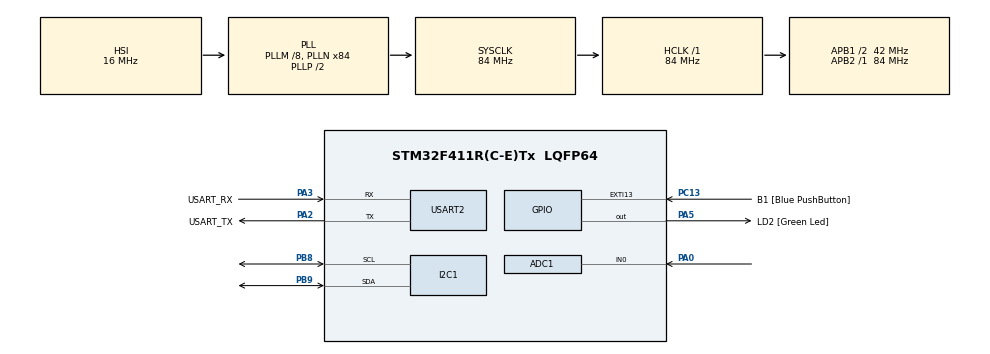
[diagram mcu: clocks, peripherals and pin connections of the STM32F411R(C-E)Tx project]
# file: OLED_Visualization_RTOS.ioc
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ADC1.Channel-0\#ChannelRegularConversion=ADC_CHANNEL_0
ADC1.DMAContinuousRequests=ENABLE
ADC1.ExternalTrigConv=ADC_EXTERNALTRIGCONV_T2_TRGO
ADC1.NbrOfConversionFlag=1
ADC1.Rank-0\#ChannelRegularConversion=1
ADC1.SamplingTime-0\#ChannelRegularConversion=ADC_SAMPLETIME_3CYCLES
ADC1.master=1
Dma.ADC1.0.Direction=DMA_PERIPH_TO_MEMORY
Dma.ADC1.0.FIFOMode=DMA_FIFOMODE_DISABLE
Dma.ADC1.0.Instance=DMA2_Stream0
Dma.ADC1.0.MemDataAlignment=DMA_MDATAALIGN_HALFWORD
Dma.ADC1.0.MemInc=DMA_MINC_ENABLE
Dma.ADC1.0.Mode=DMA_CIRCULAR
Dma.ADC1.0.PeriphDataAlignment=DMA_PDATAALIGN_HALFWORD
Dma.ADC1.0.PeriphInc=DMA_PINC_DISABLE
Dma.ADC1.0.Priority=DMA_PRIORITY_LOW
Dma.Request0=ADC1
FREERTOS.BinarySemaphores01=SemaphoreBmpQueue,Dynamic,NULL
FREERTOS.Mutexes01=MutexPrintf,Dynamic,NULL;MutexI2C1,Dynamic,NULL
FREERTOS.Queues01=QueueBmpData,8,BmpData_t,0,Dynamic,NULL,NULL;QueueFftData,8,FftData_t,0,Dynamic,NULL,NULL
FREERTOS.Tasks01=HeartbeatTask,24,128,StartHeartbeatTask,Default,NULL,Dynamic,NULL,NULL;Bmp280Task,32,256,StartBmp280Task,Default,NULL,Dynamic,NULL,NULL;OledTask,16,256,StartOledTask,Default,NULL,Dynamic,NULL,NULL;FFTTask,40,128,StartFFTTask,Default,NULL,Dynamic,NULL,NULL
FREERTOS.Timers01=TimerBmpData,TimerBmpDataCallback,osTimerPeriodic,Default,NULL,Dynamic,NULL
FREERTOS.configCHECK_FOR_STACK_OVERFLOW=0
FREERTOS.configTIMER_TASK_PRIORITY=18
FREERTOS.configTOTAL_HEAP_SIZE=32000
FREERTOS.configUSE_MALLOC_FAILED_HOOK=0
I2C1.I2C_Mode=I2C_Fast
Mcu.Family=STM32F4
Mcu.Name=STM32F411R(C-E)Tx
Mcu.Package=LQFP64
NVIC.ADC_IRQn=true\:5\:0\:false\:false\:true\:true\:true\:true\:true
NVIC.DMA2_Stream0_IRQn=true\:5\:0\:false\:false\:true\:true\:false\:true\:true
NVIC.PriorityGroup=NVIC_PRIORITYGROUP_4
NVIC.TIM1_UP_TIM10_IRQn=true\:15\:0\:false\:false\:true\:false\:false\:true\:true
NVIC.TimeBase=TIM1_UP_TIM10_IRQn
NVIC.TimeBaseIP=TIM10
PA0-WKUP.Signal=ADCx_IN0
PA13.GPIO_Label=TMS
PA13.Mode=Serial_Wire
PA13.Signal=SYS_JTMS-SWDIO
PA14.GPIO_Label=TCK
PA14.Mode=Serial_Wire
PA14.Signal=SYS_JTCK-SWCLK
PA2.GPIO_Label=USART_TX
PA2.Mode=Asynchronous
PA2.Signal=USART2_TX
PA3.GPIO_Label=USART_RX
PA3.Mode=Asynchronous
PA3.Signal=USART2_RX
PA5.GPIO_Label=LD2 [Green Led]
PA5.Signal=GPIO_Output
PB3.GPIO_Label=SWO
PB3.Signal=SYS_JTDO-SWO
PB8.Mode=I2C
PB8.Signal=I2C1_SCL
PB9.Mode=I2C
PB9.Signal=I2C1_SDA
PC13-ANTI_TAMP.GPIO_Label=B1 [Blue PushButton]
PC13-ANTI_TAMP.GPIO_ModeDefaultEXTI=GPIO_MODE_IT_FALLING
PC13-ANTI_TAMP.Signal=GPXTI13
PC14-OSC32_IN.Mode=LSE-External-Oscillator
PC14-OSC32_IN.Signal=RCC_OSC32_IN
PC15-OSC32_OUT.Mode=LSE-External-Oscillator
PC15-OSC32_OUT.Signal=RCC_OSC32_OUT
PH0\ -\ OSC_IN.Mode=HSE-External-Clock-Source
PH0\ -\ OSC_IN.Signal=RCC_OSC_IN
PH1\ -\ OSC_OUT.Mode=HSE-External-Clock-Source
PH1\ -\ OSC_OUT.Signal=RCC_OSC_OUT
ProjectManager.HeapSize=0x200
ProjectManager.StackSize=0x400
ProjectManager.TargetToolchain=STM32CubeIDE
RCC.48MHZClocksFreq_Value=42000000
RCC.AHBFreq_Value=84000000
RCC.APB1CLKDivider=RCC_HCLK_DIV2
RCC.APB1Freq_Value=42000000
RCC.APB1TimFreq_Value=84000000
RCC.APB2Freq_Value=84000000
RCC.APB2TimFreq_Value=84000000
RCC.CortexFreq_Value=84000000
RCC.FLatency-AdvancedSettings=FLASH_LATENCY_2
RCC.HCLKFreq_Value=84000000
RCC.HSE_VALUE=8000000
RCC.HSI_VALUE=16000000
RCC.PLLM=8
RCC.PLLN=84
RCC.SYSCLKFreq_VALUE=84000000
RCC.SYSCLKSource=RCC_SYSCLKSOURCE_PLLCLK
RCC.VCOOutputFreq_Value=168000000
SH.ADCx_IN0.0=ADC1_IN0,IN0
TIM2.Period=634
TIM2.Prescaler=2
TIM2.TIM_MasterOutputTrigger=TIM_TRGO_UPDATE
USART2.VirtualMode=VM_ASYNC
VP_FREERTOS_VS_CMSIS_V2.Mode=CMSIS_V2
VP_SYS_VS_tim10.Mode=TIM10
VP_TIM2_VS_ClockSourceINT.Mode=Internal
board=NUCLEO-F411RE

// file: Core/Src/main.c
/* USER CODE BEGIN Header */
/**
  ******************************************************************************
  * @file           : main.c
  * @brief          : Main program body
  ******************************************************************************
  * @attention
  *
  * Copyright (c) 2024 STMicroelectronics.
  * All rights reserved.
  *
  * This software is licensed under terms that can be found in the LICENSE file
  * in the root directory of this software component.
  * If no LICENSE file comes with this software, it is provided AS-IS.
  *
  ******************************************************************************
  */
/* USER CODE END Header */
#include "main.h"
#include "cmsis_os.h"
#include "adc.h"
#include "dma.h"
#include "i2c.h"
#include "tim.h"
#include "usart.h"
#include "gpio.h"

void SystemClock_Config(void);
void MX_FREERTOS_Init(void);

int main(void)
{

  /* MCU Configuration--------------------------------------------------------*/

  /* Reset of all peripherals, Initializes the Flash interface and the Systick. */
  HAL_Init();

  /* Configure the system clock */
  SystemClock_Config();

  /* Initialize all configured peripherals */
  MX_GPIO_Init();
  MX_DMA_Init();
  MX_USART2_UART_Init();
  MX_I2C1_Init();
  MX_ADC1_Init();
  MX_TIM2_Init();

  /* Init scheduler */
  osKernelInitialize();

  /* Call init function for freertos objects (in freertos.c) */
  MX_FREERTOS_Init();

  /* Start scheduler */
  osKernelStart();

  /* We should never get here as control is now taken by the scheduler */
  /* Infinite loop */
  while (1)
  {

  }
}

void SystemClock_Config(void)
{
  RCC_OscInitTypeDef RCC_OscInitStruct = {0};
  RCC_ClkInitTypeDef RCC_ClkInitStruct = {0};

  /** Configure the main internal regulator output voltage
  */
  __HAL_RCC_PWR_CLK_ENABLE();
  __HAL_PWR_VOLTAGESCALING_CONFIG(PWR_REGULATOR_VOLTAGE_SCALE1);

  /** Initializes the RCC Oscillators according to the specified parameters
  * in the RCC_OscInitTypeDef structure.
  */
  RCC_OscInitStruct.OscillatorType = RCC_OSCILLATORTYPE_HSI;
  RCC_OscInitStruct.HSIState = RCC_HSI_ON;
  RCC_OscInitStruct.HSICalibrationValue = RCC_HSICALIBRATION_DEFAULT;
  RCC_OscInitStruct.PLL.PLLState = RCC_PLL_ON;
  RCC_OscInitStruct.PLL.PLLSource = RCC_PLLSOURCE_HSI;
  RCC_OscInitStruct.PLL.PLLM = 8;
  RCC_OscInitStruct.PLL.PLLN = 84;
  RCC_OscInitStruct.PLL.PLLP = RCC_PLLP_DIV2;
  RCC_OscInitStruct.PLL.PLLQ = 4;
  if (HAL_RCC_OscConfig(&RCC_OscInitStruct) != HAL_OK)
  {
    Error_Handler();
  }

  /** Initializes the CPU, AHB and APB buses clocks
  */
  RCC_ClkInitStruct.ClockType = RCC_CLOCKTYPE_HCLK|RCC_CLOCKTYPE_SYSCLK
                              |RCC_CLOCKTYPE_PCLK1|RCC_CLOCKTYPE_PCLK2;
  RCC_ClkInitStruct.SYSCLKSource = RCC_SYSCLKSOURCE_PLLCLK;
  RCC_ClkInitStruct.AHBCLKDivider = RCC_SYSCLK_DIV1;
  RCC_ClkInitStruct.APB1CLKDivider = RCC_HCLK_DIV2;
  RCC_ClkInitStruct.APB2CLKDivider = RCC_HCLK_DIV1;

  if (HAL_RCC_ClockConfig(&RCC_ClkInitStruct, FLASH_LATENCY_2) != HAL_OK)
  {
    Error_Handler();
  }
}

void HAL_TIM_PeriodElapsedCallback(TIM_HandleTypeDef *htim)
{
  if (htim->Instance == TIM10) {
    HAL_IncTick();
  }
}

void Error_Handler(void)
{
  __disable_irq();
  while (1)
  {
  }
}

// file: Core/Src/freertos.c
/* USER CODE BEGIN Header */
/**
  ******************************************************************************
  * File Name          : freertos.c
  * Description        : Code for freertos applications
  ******************************************************************************
  * @attention
  *
  * Copyright (c) 2024 STMicroelectronics.
  * All rights reserved.
  *
  * This software is licensed under terms that can be found in the LICENSE file
  * in the root directory of this software component.
  * If no LICENSE file comes with this software, it is provided AS-IS.
  *
  ******************************************************************************
  */
/* USER CODE END Header */

#include "FreeRTOS.h"
#include "task.h"
#include "main.h"
#include "cmsis_os.h"

/* USER CODE BEGIN Includes */
#include "i2c.h"
#include "usart.h"
#include "tim.h"
#include "adc.h"

#include "My_library/BMP280.h"
#include "My_library/SSD1306_OLED.h"
#include "My_library/GFX_BW.h"
#include "My_library/fonts/fonts.h"

#include "arm_math.h"
#include "printf.h"
/* USER CODE END Includes */

/* USER CODE BEGIN PD */
#define FFT_SAMPLES 1024
/* USER CODE END PD */

/* USER CODE BEGIN Variables */
//extern I2C_HandleTypeDef *BMP_I2C;
typedef struct
{
	float Pressure;
	float Temperature;
}BmpData_t;

typedef struct
{
	uint8_t OutFreqArray[10];
}FftData_t;

/* USER CODE END Variables */
/* Definitions for HeartbeatTask */
osThreadId_t HeartbeatTaskHandle;
const osThreadAttr_t HeartbeatTask_attributes = {
  .name = "HeartbeatTask",
  .stack_size = 128 * 4,
  .priority = (osPriority_t) osPriorityNormal,
};
/* Definitions for Bmp280Task */
osThreadId_t Bmp280TaskHandle;
const osThreadAttr_t Bmp280Task_attributes = {
  .name = "Bmp280Task",
  .stack_size = 256 * 4,
  .priority = (osPriority_t) osPriorityAboveNormal,
};
/* Definitions for OledTask */
osThreadId_t OledTaskHandle;
const osThreadAttr_t OledTask_attributes = {
  .name = "OledTask",
  .stack_size = 256 * 4,
  .priority = (osPriority_t) osPriorityBelowNormal,
};
/* Definitions for FFTTask */
osThreadId_t FFTTaskHandle;
const osThreadAttr_t FFTTask_attributes = {
  .name = "FFTTask",
  .stack_size = 128 * 4,
  .priority = (osPriority_t) osPriorityHigh,
};
/* Definitions for QueueBmpData */
osMessageQueueId_t QueueBmpDataHandle;
const osMessageQueueAttr_t QueueBmpData_attributes = {
  .name = "QueueBmpData"
};
/* Definitions for QueueFftData */
osMessageQueueId_t QueueFftDataHandle;
const osMessageQueueAttr_t QueueFftData_attributes = {
  .name = "QueueFftData"
};
/* Definitions for TimerBmpData */
osTimerId_t TimerBmpDataHandle;
const osTimerAttr_t TimerBmpData_attributes = {
  .name = "TimerBmpData"
};
/* Definitions for MutexPrintf */
osMutexId_t MutexPrintfHandle;
const osMutexAttr_t MutexPrintf_attributes = {
  .name = "MutexPrintf"
};
/* Definitions for MutexI2C1 */
osMutexId_t MutexI2C1Handle;
const osMutexAttr_t MutexI2C1_attributes = {
  .name = "MutexI2C1"
};
/* Definitions for SemaphoreBmpQueue */
osSemaphoreId_t SemaphoreBmpQueueHandle;
const osSemaphoreAttr_t SemaphoreBmpQueue_attributes = {
  .name = "SemaphoreBmpQueue"
};

/* USER CODE BEGIN FunctionPrototypes */
void CalculateFFT(arm_rfft_fast_instance_f32 *FFTHandler,float *FFT_InBuffer, float *FFT_OutBuffer, FftData_t *OutFreqArray);
/* USER CODE END FunctionPrototypes */

void StartHeartbeatTask(void *argument);
void StartBmp280Task(void *argument);
void StartOledTask(void *argument);
void StartFFTTask(void *argument);
void TimerBmpDataCallback(void *argument);

void MX_FREERTOS_Init(void); /* (MISRA C 2004 rule 8.1) */

void MX_FREERTOS_Init(void) {
  /* Create the mutex(es) */
  /* creation of MutexPrintf */
  MutexPrintfHandle = osMutexNew(&MutexPrintf_attributes);

  /* creation of MutexI2C1 */
  MutexI2C1Handle = osMutexNew(&MutexI2C1_attributes);

  /* Create the semaphores(s) */
  /* creation of SemaphoreBmpQueue */
  SemaphoreBmpQueueHandle = osSemaphoreNew(1, 0, &SemaphoreBmpQueue_attributes);

  /* Create the timer(s) */
  /* creation of TimerBmpData */
  TimerBmpDataHandle = osTimerNew(TimerBmpDataCallback, osTimerPeriodic, NULL, &TimerBmpData_attributes);

  /* Create the queue(s) */
  /* creation of QueueBmpData */
  QueueBmpDataHandle = osMessageQueueNew (8, sizeof(BmpData_t), &QueueBmpData_attributes);

  /* creation of QueueFftData */
  QueueFftDataHandle = osMessageQueueNew (8, sizeof(FftData_t), &QueueFftData_attributes);

  /* Create the thread(s) */
  /* creation of HeartbeatTask */
  HeartbeatTaskHandle = osThreadNew(StartHeartbeatTask, NULL, &HeartbeatTask_attributes);

  /* creation of Bmp280Task */
  Bmp280TaskHandle = osThreadNew(StartBmp280Task, NULL, &Bmp280Task_attributes);

  /* creation of OledTask */
  OledTaskHandle = osThreadNew(StartOledTask, NULL, &OledTask_attributes);

  /* creation of FFTTask */
  FFTTaskHandle = osThreadNew(StartFFTTask, NULL, &FFTTask_attributes);

}

/* USER CODE BEGIN Header_StartHeartbeatTask */
/**
  * @brief  Function implementing the HeartbeatTask thread.
  * Task used only to show that program is running.
  *
  * @param  argument: Not used
  *
  * @retval None
  */
/* USER CODE END Header_StartHeartbeatTask */
void StartHeartbeatTask(void *argument)
{
  /* USER CODE BEGIN StartHeartbeatTask */
  /* Infinite loop */
  for(;;)
  {
	  HAL_GPIO_TogglePin(LD2_GPIO_Port, LD2_Pin);
	  osDelay(500);
  }
  /* USER CODE END StartHeartbeatTask */
}

/* USER CODE BEGIN Header_StartBmp280Task */
/**
* @brief Function implementing the Bmp280Task thread.
* It initiates and executes BMP280 measurements, which are then placed in a queue.
* Subsequently, they are retrieved by the OledTask.
*
* @param argument: Not used
*
* @retval None
*/
/* USER CODE END Header_StartBmp280Task */
void StartBmp280Task(void *argument)
{
  /* USER CODE BEGIN StartBmp280Task */
	BmpData_t _BmpData; // floor char'_' to distinct  task variables
	uint32_t _DelayTick = osKernelGetSysTimerCount();
	osMutexAcquire(MutexI2C1Handle, osWaitForever);
	BMP280_Init(&hi2c1);
	osMutexRelease(MutexI2C1Handle);

	osTimerStart(TimerBmpDataHandle, 100); //osKernelGetTickFreq() * 100 / 1000
  /* Infinite loop */
  for(;;)
  {
	  osMutexAcquire(MutexI2C1Handle, osWaitForever);
	  BMP280_ReadPressureTemp(&_BmpData.Pressure, &_BmpData.Temperature);
	  osMutexRelease(MutexI2C1Handle);

	  if(osOK == osSemaphoreAcquire(SemaphoreBmpQueueHandle, 0))
	  {
		  osMessageQueuePut(QueueBmpDataHandle, &_BmpData, 0, osWaitForever);
	  }

	  printf("Temperature: %.2f, Pressure: %.2f\n\r", _BmpData.Temperature, _BmpData.Pressure);

	  _DelayTick += 10;
	  osDelayUntil(_DelayTick); //to start task every 10ms
  }
  /* USER CODE END StartBmp280Task */
}

/* USER CODE BEGIN Header_StartOledTask */
/**
* @brief Function implementing the OledTask thread.
* It initiates OLED configuration and executes it's operation.
* Data from BMP280 sensor is get from queue and displayed on screen as numbers.
* Data from microphone is get from queue and displayed as columns chart.
*
* @param argument: Not used
*
* @retval None
*/
/* USER CODE END Header_StartOledTask */
void StartOledTask(void *argument)
{
  /* USER CODE BEGIN StartOledTask */
	char _Message[32];

	BmpData_t _BmpData; // floor char'_' to distinct  task variables
	FftData_t _FftData;
	osMutexAcquire(MutexI2C1Handle, osWaitForever);
	SSD1306_Init(&hi2c1);
	osMutexRelease(MutexI2C1Handle);

	GFX_SetFont(font_8x5);

	SSD1306_Clear(BLACK);

	SSD1306_Display();
  /* Infinite loop */
  for(;;)
  {
		SSD1306_Clear(BLACK);

		//wait for data from BMP
		osMessageQueueGet(QueueBmpDataHandle, &_BmpData, NULL, 0);

		osMessageQueueGet(QueueFftDataHandle, &_FftData, NULL, 0);

		sprintf(_Message, "Press: %.2f", _BmpData.Pressure);
		GFX_DrawString(0, 0, _Message, WHITE, 0);

		sprintf(_Message, "Temp: %.2f", _BmpData.Temperature);
		GFX_DrawString(0, 10, _Message, WHITE, 0);

		for(uint8_t i = 0; i < 10; i++)
		{
			GFX_DrawFillRectangle(10 + (i * 11), 64 - _FftData.OutFreqArray[i], 10, _FftData.OutFreqArray[i], WHITE);
		}

		SSD1306_Display();
  }
  /* USER CODE END StartOledTask */
}

/* USER CODE BEGIN Header_StartFFTTask */
/**
* @brief Function implementing the FFTTask thread.
* It initiates ADC, TIM and arm math and executes sound measurements with 44,1 kHz frequency.
* Subsequently, the data is processed with FFT to distinct certain frequencies.
*
* @param argument: Not used
*
* @retval None
*/
/* USER CODE END Header_StartFFTTask */
void StartFFTTask(void *argument)
{
  /* USER CODE BEGIN StartFFTTask */
	arm_rfft_fast_instance_f32 _FFTHandler;

	//FFT
	uint16_t *_AdcMicrophone;
	float *_FFT_InBuffer;
	float *_FFT_OutBuffer;
	FftData_t _FftData;

	_AdcMicrophone = pvPortMalloc(FFT_SAMPLES * sizeof(uint16_t));
	_FFT_InBuffer = pvPortMalloc(FFT_SAMPLES * sizeof(float));
	_FFT_OutBuffer = pvPortMalloc(FFT_SAMPLES * sizeof(float));

	HAL_TIM_Base_Start(&htim2);
	HAL_ADC_Start_DMA(&hadc1, (uint32_t*)_AdcMicrophone, FFT_SAMPLES);
	arm_rfft_fast_init_f32(&_FFTHandler, FFT_SAMPLES);
  /* Infinite loop */
  for(;;)
  {

	  osThreadFlagsWait(0x01, osFlagsWaitAll, osWaitForever);
	  //put samples into input buffer

	  for(uint32_t i = 0; i < FFT_SAMPLES; i++)
	  {
		  _FFT_InBuffer[i] = (float)_AdcMicrophone[i];
	  }

	  CalculateFFT(&_FFTHandler, _FFT_InBuffer, _FFT_OutBuffer, &_FftData);

	  osMessageQueuePut(QueueFftDataHandle, &_FftData, 0, osWaitForever);
  }
  /* USER CODE END StartFFTTask */
}

/* TimerBmpDataCallback function */
void TimerBmpDataCallback(void *argument)
{
  /* USER CODE BEGIN TimerBmpDataCallback */

	osSemaphoreRelease(SemaphoreBmpQueueHandle);
  /* USER CODE END TimerBmpDataCallback */
}

/* USER CODE BEGIN Application */

/** _putchar
 * @brief Implementation of low level output function needed for printf().
 *
 * @param character Character to print.
 *
 * @retval None.
 * */
void _putchar(char character)
{
  // send char to console etc.
	osMutexAcquire(MutexPrintfHandle, osWaitForever);
	HAL_UART_Transmit(&huart2, (uint8_t*)&character, 1, 1000);
	osMutexRelease(MutexPrintfHandle);
}

void HAL_ADC_ConvCpltCallback(ADC_HandleTypeDef *hadc)
{
	if(hadc->Instance == ADC1)
	{
		osThreadFlagsSet(FFTTaskHandle, 0x01);
	}
}

/** complexABS
 * @brief Calculate absolute values from complex nums.
 * Used in CalculateFFT.
 *
 * @param real Real part.
 * @param compl Imaginary part.
 *
 * @retval Absolute value.
 * */
float complexABS(float real, float compl)
{
	return sqrt(real * real + compl * compl);
}

/** CalculateFFT
 * @brief Calculate FFT from data measured by microphone.
 * Arm math instructions were used to speed up calculations.
 *
 * @param FFTHandler Pointer to instance structure for the floating-point RFFT/RIFFT function..
 * @param FFT_InBuffer Pointer to input data buffer.
 * @param FFT_OutBuffer Pointer to output data buffer.
 * @param FftData Pointer to output frequency data.
 *
 * @retval None.
 * */
void CalculateFFT(arm_rfft_fast_instance_f32 *FFTHandler,float *FFT_InBuffer, float *FFT_OutBuffer, FftData_t *FftData)
{
	arm_rfft_fast_f32(FFTHandler, FFT_InBuffer, FFT_OutBuffer, 0);

	int *Freqs = pvPortMalloc(FFT_SAMPLES * sizeof(int));
	int FreqPoint = 0;
	int Offset = 45; //noise floor offset

	//calc abs values and linear to dB
	for(int i = 0; i < FFT_SAMPLES; i += 2)
	{
		Freqs[FreqPoint] = (int)(20 * log10f(complexABS(FFT_OutBuffer[i], FFT_OutBuffer[i + 1]))) - Offset; //conv to dB

		if(Freqs[FreqPoint] < 0)
		{
			Freqs[FreqPoint] = 0;
		}
		FreqPoint++;
	}

	FftData->OutFreqArray[0] = (uint8_t)Freqs[1]; //22 Hz
	FftData->OutFreqArray[1] = (uint8_t)Freqs[2]; //63 Hz
	FftData->OutFreqArray[2] = (uint8_t)Freqs[3]; //125 Hz
	FftData->OutFreqArray[3] = (uint8_t)Freqs[6]; //250 Hz
	FftData->OutFreqArray[4] = (uint8_t)Freqs[12]; //500 Hz
	FftData->OutFreqArray[5] = (uint8_t)Freqs[23]; //1000 Hz
	FftData->OutFreqArray[6] = (uint8_t)Freqs[51]; //2200 Hz
	FftData->OutFreqArray[7] = (uint8_t)Freqs[104]; //4500 Hz
	FftData->OutFreqArray[8] = (uint8_t)Freqs[207]; //9000 Hz
	FftData->OutFreqArray[9] = (uint8_t)Freqs[344]; //15000 Hz

	vPortFree(Freqs);
}
/* USER CODE END Application */
